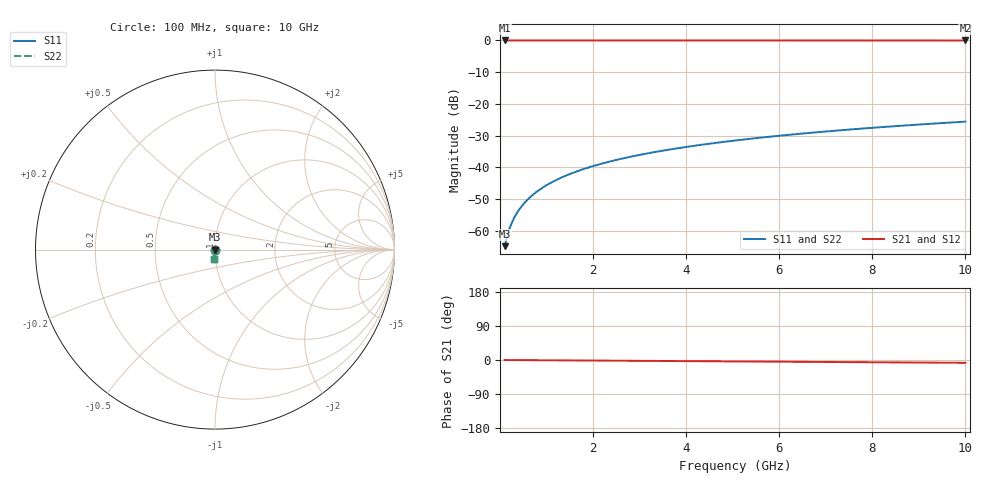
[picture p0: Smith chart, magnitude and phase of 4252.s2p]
# Hz S RI R 50.00
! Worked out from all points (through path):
!   100 points, 100 MHz to 10 GHz, reference 50 ohm
!   highest |S21| = 0.00 dB at 100 MHz (marker M1); lowest = 0.0 dB at 10 GHz (marker M2)
!   group delay of S21, straight-line fit = 2.07 ps
!   lowest |S11| = -64.8 dB at 100 MHz (marker M3), VSWR 1.00, Z = 50 - j0.0525 ohm
!   |S11| at or under -10 dB: start of sweep to end of sweep
!   |S22| runs from -64.8 to -25.6 dB; largest |S21 - S12| = 0
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1e8  0.000238 -0.000525  0.9998 -0.00129  0.9998 -0.00129  0.000238 -0.000525
2e8  0.000237 -0.00105  0.9998 -0.00259  0.9998 -0.00259  0.000237 -0.00105
3e8  0.000234 -0.00158  0.9997 -0.00388  0.9997 -0.00388  0.000234 -0.00158
4e8  0.000229 -0.0021  0.9997 -0.00517  0.9997 -0.00517  0.000229 -0.0021
5e8  0.000223 -0.00263  0.9997 -0.00647  0.9997 -0.00647  0.000223 -0.00263
6e8  0.000215 -0.00315  0.9997 -0.00776  0.9997 -0.00776  0.000215 -0.00315
7e8  0.000206 -0.00368  0.9997 -0.00905  0.9997 -0.00905  0.000206 -0.00368
8e8  0.000196 -0.0042  0.9997 -0.0103  0.9997 -0.0103  0.000196 -0.0042
9e8  0.000184 -0.00473  0.9997 -0.0116  0.9997 -0.0116  0.000184 -0.00473
1.1e9  0.000156 -0.00578  0.9996 -0.0142  0.9996 -0.0142  0.000156 -0.00578
1.4e9  0.000104 -0.00735  0.9995 -0.0181  0.9995 -0.0181  0.000104 -0.00735
1.8e9  1.55e-05 -0.00945  0.9994 -0.0233  0.9994 -0.0233  1.55e-05 -0.00945
2.1e9  -6.54e-05 -0.011  0.9993 -0.0272  0.9993 -0.0272  -6.54e-05 -0.011
2.5e9  -0.000193 -0.0131  0.9991 -0.0323  0.9991 -0.0323  -0.000193 -0.0131
2.9e9  -0.000342 -0.0152  0.9989 -0.0375  0.9989 -0.0375  -0.000342 -0.0152
3.4e9  -0.000559 -0.0179  0.9986 -0.044  0.9986 -0.044  -0.000559 -0.0179
4.2e9  -0.000977 -0.0221  0.998 -0.0543  0.998 -0.0543  -0.000977 -0.0221
5.1e9  -0.00155 -0.0268  0.9971 -0.066  0.9971 -0.066  -0.00155 -0.0268
5.9e9  -0.00216 -0.031  0.9963 -0.0764  0.9963 -0.0764  -0.00216 -0.031
6.7e9  -0.00285 -0.0351  0.9953 -0.0867  0.9953 -0.0867  -0.00285 -0.0351
8.4e9  -0.00462 -0.044  0.9927 -0.1087  0.9927 -0.1087  -0.00462 -0.044
1e10  -0.00664 -0.0523  0.9898 -0.1294  0.9898 -0.1294  -0.00664 -0.0523
